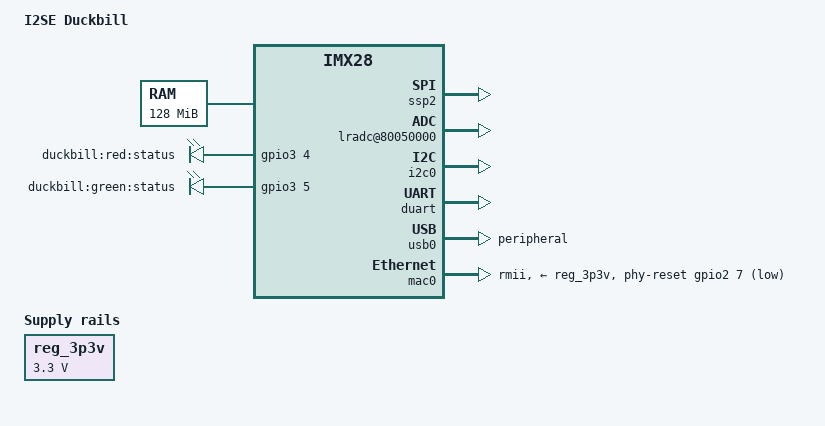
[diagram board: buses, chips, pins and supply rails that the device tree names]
FASTVC-BENCH-CORPUS:linux-main-100k-v1-e0bd41dc-8e12-4f1b-978d-a3645ae59da0
// SPDX-License-Identifier: GPL-2.0-or-later
/*
 * Copyright (C) 2013-2014,2016 Michael Heimpold <mhei@heimpold.de>
 * Copyright (C) 2015-2017 I2SE GmbH <info@i2se.com>
 */

/dts-v1/;
#include <dt-bindings/gpio/gpio.h>
#include "imx28.dtsi"

/ {
	model = "I2SE Duckbill";
	compatible = "i2se,duckbill", "fsl,imx28";
/* bench 3415.0.0 64283eac262f */
/* bench 3415.0.1 cdd5374f963b */
/* bench 3415.0.2 3a309c6a2da4 */
	memory@40000000 {
		device_type = "memory";
		reg = <0x40000000 0x08000000>;
	};

	apb@80000000 {
		apbh@80000000 {
/* bench 21061.0.0 c77c24a67242 */
/* bench 21061.0.1 aec05a2af7fe */
				pinctrl-0 = <&mmc0_4bit_pins_a
					&mmc0_cd_cfg &mmc0_sck_cfg>;
				bus-width = <4>;
				vmmc-supply = <&reg_3p3v>;
				status = "okay";
			};

			ssp2: spi@80014000 {
				compatible = "fsl,imx28-spi";
				pinctrl-names = "default";
				pinctrl-0 = <&spi2_pins_a>;
				status = "okay";
			};

			pinctrl@80018000 {
				pinctrl-names = "default";
				pinctrl-0 = <&hog_pins_a>;

				hog_pins_a: hog@0 {
					reg = <0>;
					fsl,pinmux-ids = <
						MX28_PAD_LCD_D17__GPIO_1_17    /* Revision detection */
					>;
					fsl,drive-strength = <MXS_DRIVE_4mA>;
					fsl,voltage = <MXS_VOLTAGE_HIGH>;
					fsl,pull-up = <MXS_PULL_DISABLE>;
				};

				mac0_phy_reset_pin: mac0-phy-reset@0 {
					reg = <0>;
					fsl,pinmux-ids = <
						MX28_PAD_SSP0_DATA7__GPIO_2_7    /* PHY Reset */
					>;
					fsl,drive-strength = <MXS_DRIVE_4mA>;
					fsl,voltage = <MXS_VOLTAGE_HIGH>;
					fsl,pull-up = <MXS_PULL_DISABLE>;
				};

				led_pins: leds@0 {
					reg = <0>;
					fsl,pinmux-ids = <
						MX28_PAD_AUART1_RX__GPIO_3_4
						MX28_PAD_AUART1_TX__GPIO_3_5
					>;
					fsl,drive-strength = <MXS_DRIVE_4mA>;
					fsl,voltage = <MXS_VOLTAGE_HIGH>;
					fsl,pull-up = <MXS_PULL_DISABLE>;
				};
			};
		};

		apbx@80040000 {
			lradc@80050000 {
				status = "okay";
			};

			i2c0: i2c@80058000 {
				pinctrl-names = "default";
				pinctrl-0 = <&i2c0_pins_a>;
				status = "okay";
			};

			auart0: serial@8006a000 {
				pinctrl-names = "default";
				pinctrl-0 = <&auart0_2pins_a>;
/* bench 21108.1.0 d42b557ccc30 */
/* bench 21108.1.1 76319bd5fd7b */
/* bench 21108.1.2 b1b170e7b672 */
/* bench 21108.1.3 1a318fa31338 */
/* bench 21108.1.4 3256b3f2b052 */
/* bench 21108.1.5 77025966722f */
			duart: serial@80074000 {
				pinctrl-names = "default";
				pinctrl-0 = <&duart_pins_a>;
				status = "okay";
			};

			usbphy0: usbphy@8007c000 {
				status = "okay";
			};
		};
	};

	ahb@80080000 {
		usb0: usb@80080000 {
			status = "okay";
			dr_mode = "peripheral";
		};

		mac0: ethernet@800f0000 {
			phy-mode = "rmii";
			pinctrl-names = "default";
			pinctrl-0 = <&mac0_pins_a>, <&mac0_phy_reset_pin>;
			phy-supply = <&reg_3p3v>;
			phy-reset-gpios = <&gpio2 7 GPIO_ACTIVE_LOW>;
			phy-reset-duration = <25>;
			status = "okay";
		};
	};

	reg_3p3v: regulator-3p3v {
		compatible = "regulator-fixed";
		regulator-name = "3P3V";
		regulator-min-microvolt = <3300000>;
		regulator-max-microvolt = <3300000>;
		regulator-always-on;
	};

	leds {
/* bench 15459.4.0 e9ffe5734b7a */
/* bench 15459.4.1 382f783414ff */
/* bench 15459.4.2 21e2db497774 */
/* bench 15459.4.3 b6e847e6dcbe */
/* bench 15459.4.4 f6bc56b7fdce */
/* bench 15459.4.5 8b5c330163df */
/* bench 15459.4.6 7fd97b8e3846 */
/* bench 15459.4.7 f810f63be24c */
/* bench 15459.4.8 4db606aa9313 */
		pinctrl-0 = <&led_pins>;

		status-red {
			label = "duckbill:red:status";
			gpios = <&gpio3 4 GPIO_ACTIVE_HIGH>;
			linux,default-trigger = "default-on";
		};

		status-green {
			label = "duckbill:green:status";
			gpios = <&gpio3 5 GPIO_ACTIVE_HIGH>;
			linux,default-trigger = "heartbeat";
		};
	};
};
